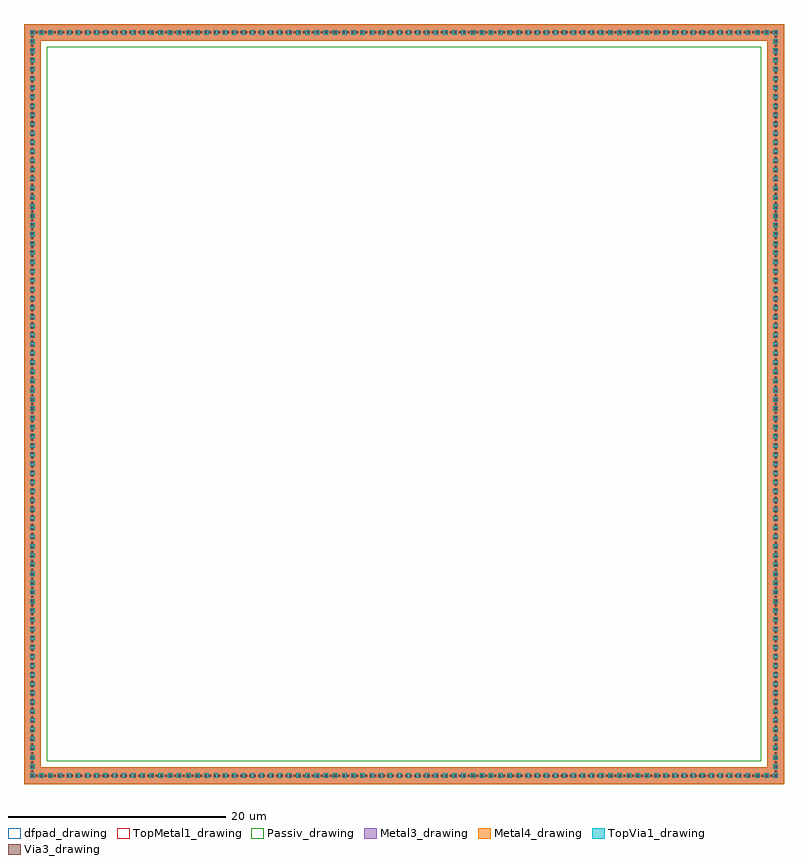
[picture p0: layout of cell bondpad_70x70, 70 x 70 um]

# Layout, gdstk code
import gdstk
lib = gdstk.Library(unit=1e-6, precision=1e-09)
def R(c, l, rs):  # rectangles x0, y0, x1, y1
    for r in rs: c.add(gdstk.rectangle(r[:2], r[2:], *l))
def A(c, l, x, y, w, h, nx, ny, dx, dy):  # array of equal rectangles
    R(c, l, [(x+i*dx, y+j*dy, x+i*dx+w, y+j*dy+h) for i in range(nx) for j in range(ny)])
def P(c, l, *ps):  # polygons
    for p in ps: c.add(gdstk.Polygon(p, *l))
Passiv_drawing = (9, 0)
Metal3_drawing = (30, 0)
dfpad_drawing = (41, 0)
Via3_drawing = (49, 0)
Metal4_drawing = (50, 0)
TopVia1_drawing = (125, 0)
TopMetal1_drawing = (126, 0)

bondpad_70x70 = lib.new_cell('bondpad_70x70')
R(bondpad_70x70, Passiv_drawing, [(2.1,2.1,67.9,67.9)])
P(bondpad_70x70, Metal3_drawing, [(0,0),(1.53,1.53),(68.47,1.53),(68.47,68.47),(1.53,68.47),(1.53,1.53),(0,0),(0,70),(70,70),(70,0)])
R(bondpad_70x70, dfpad_drawing, [(0,0,70,70)])
A(bondpad_70x70, Via3_drawing, 0.67, 0.67, 0.19, 0.19, 168, 2, 0.41, 68.47)
A(bondpad_70x70, Via3_drawing, 0.67, 1.09, 0.19, 0.19, 1, 3, 0, 0.41)
A(bondpad_70x70, Via3_drawing, 69.14, 1.09, 0.19, 0.19, 1, 3, 0, 0.41)
A(bondpad_70x70, Via3_drawing, 0.67, 8.925, 0.19, 0.19, 1, 3, 0, 0.41)
A(bondpad_70x70, Via3_drawing, 69.14, 8.925, 0.19, 0.19, 1, 3, 0, 0.41)
A(bondpad_70x70, Via3_drawing, 0.67, 17.585, 0.19, 0.19, 1, 3, 0, 0.41)
A(bondpad_70x70, Via3_drawing, 69.14, 17.585, 0.19, 0.19, 1, 3, 0, 0.41)
A(bondpad_70x70, Via3_drawing, 0.67, 26.245, 0.19, 0.19, 1, 3, 0, 0.41)
A(bondpad_70x70, Via3_drawing, 69.14, 26.245, 0.19, 0.19, 1, 3, 0, 0.41)
A(bondpad_70x70, Via3_drawing, 0.67, 34.905, 0.19, 0.19, 1, 3, 0, 0.41)
A(bondpad_70x70, Via3_drawing, 69.14, 34.905, 0.19, 0.19, 1, 3, 0, 0.41)
A(bondpad_70x70, Via3_drawing, 0.67, 42.74, 0.19, 0.19, 1, 3, 0, 0.41)
A(bondpad_70x70, Via3_drawing, 69.14, 42.74, 0.19, 0.19, 1, 3, 0, 0.41)
A(bondpad_70x70, Via3_drawing, 0.67, 51.4, 0.19, 0.19, 1, 3, 0, 0.41)
A(bondpad_70x70, Via3_drawing, 69.14, 51.4, 0.19, 0.19, 1, 3, 0, 0.41)
A(bondpad_70x70, Via3_drawing, 0.67, 60.06, 0.19, 0.19, 1, 3, 0, 0.41)
A(bondpad_70x70, Via3_drawing, 69.14, 60.06, 0.19, 0.19, 1, 3, 0, 0.41)
R(bondpad_70x70, Via3_drawing, [(0.67,2.325,0.86,2.515), (69.14,2.325,69.33,2.515), (0.67,2.735,0.86,2.925), (69.14,2.735,69.33,2.925), (0.67,3.15,0.86,3.34), (69.14,3.15,69.33,3.34), (0.67,3.56,0.86,3.75), (69.14,3.56,69.33,3.75), (0.67,3.975,0.86,4.165), (69.14,3.975,69.33,4.165), (0.67,4.385,0.86,4.575), (69.14,4.385,69.33,4.575), (0.67,4.8,0.86,4.99), (69.14,4.8,69.33,4.99), (0.67,5.21,0.86,5.4), (69.14,5.21,69.33,5.4), (0.67,5.625,0.86,5.815), (69.14,5.625,69.33,5.815), (0.67,6.035,0.86,6.225), (69.14,6.035,69.33,6.225), (0.67,6.45,0.86,6.64), (69.14,6.45,69.33,6.64), (0.67,6.86,0.86,7.05), (69.14,6.86,69.33,7.05), (0.67,7.275,0.86,7.465), (69.14,7.275,69.33,7.465), (0.67,7.685,0.86,7.875), (69.14,7.685,69.33,7.875), (0.67,8.1,0.86,8.29), (69.14,8.1,69.33,8.29), (0.67,8.51,0.86,8.7), (69.14,8.51,69.33,8.7), (0.67,10.16,0.86,10.35), (69.14,10.16,69.33,10.35), (0.67,10.57,0.86,10.76), (69.14,10.57,69.33,10.76), (0.67,10.985,0.86,11.175), (69.14,10.985,69.33,11.175), (0.67,11.395,0.86,11.585), (69.14,11.395,69.33,11.585), (0.67,11.81,0.86,12), (69.14,11.81,69.33,12), (0.67,12.22,0.86,12.41), (69.14,12.22,69.33,12.41), (0.67,12.635,0.86,12.825), (69.14,12.635,69.33,12.825), (0.67,13.045,0.86,13.235), (69.14,13.045,69.33,13.235), (0.67,13.46,0.86,13.65), (69.14,13.46,69.33,13.65), (0.67,13.87,0.86,14.06), (69.14,13.87,69.33,14.06), (0.67,14.285,0.86,14.475), (69.14,14.285,69.33,14.475), (0.67,14.695,0.86,14.885), (69.14,14.695,69.33,14.885), (0.67,15.11,0.86,15.3), (69.14,15.11,69.33,15.3), (0.67,15.52,0.86,15.71), (69.14,15.52,69.33,15.71), (0.67,15.935,0.86,16.125), (69.14,15.935,69.33,16.125), (0.67,16.345,0.86,16.535), (69.14,16.345,69.33,16.535), (0.67,16.76,0.86,16.95), (69.14,16.76,69.33,16.95), (0.67,17.17,0.86,17.36), (69.14,17.17,69.33,17.36), (0.67,18.82,0.86,19.01), (69.14,18.82,69.33,19.01), (0.67,19.23,0.86,19.42), (69.14,19.23,69.33,19.42), (0.67,19.645,0.86,19.835), (69.14,19.645,69.33,19.835), (0.67,20.055,0.86,20.245), (69.14,20.055,69.33,20.245), (0.67,20.47,0.86,20.66), (69.14,20.47,69.33,20.66), (0.67,20.88,0.86,21.07), (69.14,20.88,69.33,21.07), (0.67,21.295,0.86,21.485), (69.14,21.295,69.33,21.485), (0.67,21.705,0.86,21.895), (69.14,21.705,69.33,21.895), (0.67,22.12,0.86,22.31), (69.14,22.12,69.33,22.31), (0.67,22.53,0.86,22.72), (69.14,22.53,69.33,22.72), (0.67,22.945,0.86,23.135), (69.14,22.945,69.33,23.135), (0.67,23.355,0.86,23.545), (69.14,23.355,69.33,23.545), (0.67,23.77,0.86,23.96), (69.14,23.77,69.33,23.96), (0.67,24.18,0.86,24.37), (69.14,24.18,69.33,24.37), (0.67,24.595,0.86,24.785), (69.14,24.595,69.33,24.785), (0.67,25.005,0.86,25.195), (69.14,25.005,69.33,25.195), (0.67,25.42,0.86,25.61), (69.14,25.42,69.33,25.61), (0.67,25.83,0.86,26.02), (69.14,25.83,69.33,26.02), (0.67,27.48,0.86,27.67), (69.14,27.48,69.33,27.67), (0.67,27.89,0.86,28.08), (69.14,27.89,69.33,28.08), (0.67,28.305,0.86,28.495), (69.14,28.305,69.33,28.495), (0.67,28.715,0.86,28.905), (69.14,28.715,69.33,28.905), (0.67,29.13,0.86,29.32), (69.14,29.13,69.33,29.32), (0.67,29.54,0.86,29.73), (69.14,29.54,69.33,29.73), (0.67,29.955,0.86,30.145), (69.14,29.955,69.33,30.145), (0.67,30.365,0.86,30.555), (69.14,30.365,69.33,30.555), (0.67,30.78,0.86,30.97), (69.14,30.78,69.33,30.97), (0.67,31.19,0.86,31.38), (69.14,31.19,69.33,31.38), (0.67,31.605,0.86,31.795), (69.14,31.605,69.33,31.795), (0.67,32.015,0.86,32.205), (69.14,32.015,69.33,32.205), (0.67,32.43,0.86,32.62), (69.14,32.43,69.33,32.62), (0.67,32.84,0.86,33.03), (69.14,32.84,69.33,33.03), (0.67,33.255,0.86,33.445), (69.14,33.255,69.33,33.445), (0.67,33.665,0.86,33.855), (69.14,33.665,69.33,33.855), (0.67,34.08,0.86,34.27), (69.14,34.08,69.33,34.27), (0.67,34.49,0.86,34.68), (69.14,34.49,69.33,34.68), (0.67,36.14,0.86,36.33), (69.14,36.14,69.33,36.33), (0.67,36.55,0.86,36.74), (69.14,36.55,69.33,36.74), (0.67,36.965,0.86,37.155), (69.14,36.965,69.33,37.155), (0.67,37.375,0.86,37.565), (69.14,37.375,69.33,37.565), (0.67,37.79,0.86,37.98), (69.14,37.79,69.33,37.98), (0.67,38.2,0.86,38.39), (69.14,38.2,69.33,38.39), (0.67,38.615,0.86,38.805), (69.14,38.615,69.33,38.805), (0.67,39.025,0.86,39.215), (69.14,39.025,69.33,39.215), (0.67,39.44,0.86,39.63), (69.14,39.44,69.33,39.63), (0.67,39.85,0.86,40.04), (69.14,39.85,69.33,40.04), (0.67,40.265,0.86,40.455), (69.14,40.265,69.33,40.455), (0.67,40.675,0.86,40.865), (69.14,40.675,69.33,40.865), (0.67,41.09,0.86,41.28), (69.14,41.09,69.33,41.28), (0.67,41.5,0.86,41.69), (69.14,41.5,69.33,41.69), (0.67,41.915,0.86,42.105), (69.14,41.915,69.33,42.105), (0.67,42.325,0.86,42.515), (69.14,42.325,69.33,42.515), (0.67,43.975,0.86,44.165), (69.14,43.975,69.33,44.165), (0.67,44.385,0.86,44.575), (69.14,44.385,69.33,44.575), (0.67,44.8,0.86,44.99), (69.14,44.8,69.33,44.99), (0.67,45.21,0.86,45.4), (69.14,45.21,69.33,45.4), (0.67,45.625,0.86,45.815), (69.14,45.625,69.33,45.815), (0.67,46.035,0.86,46.225), (69.14,46.035,69.33,46.225), (0.67,46.45,0.86,46.64), (69.14,46.45,69.33,46.64), (0.67,46.86,0.86,47.05), (69.14,46.86,69.33,47.05), (0.67,47.275,0.86,47.465), (69.14,47.275,69.33,47.465), (0.67,47.685,0.86,47.875), (69.14,47.685,69.33,47.875), (0.67,48.1,0.86,48.29), (69.14,48.1,69.33,48.29), (0.67,48.51,0.86,48.7), (69.14,48.51,69.33,48.7), (0.67,48.925,0.86,49.115), (69.14,48.925,69.33,49.115), (0.67,49.335,0.86,49.525), (69.14,49.335,69.33,49.525), (0.67,49.75,0.86,49.94), (69.14,49.75,69.33,49.94), (0.67,50.16,0.86,50.35), (69.14,50.16,69.33,50.35), (0.67,50.575,0.86,50.765), (69.14,50.575,69.33,50.765), (0.67,50.985,0.86,51.175), (69.14,50.985,69.33,51.175), (0.67,52.635,0.86,52.825), (69.14,52.635,69.33,52.825), (0.67,53.045,0.86,53.235), (69.14,53.045,69.33,53.235), (0.67,53.46,0.86,53.65), (69.14,53.46,69.33,53.65), (0.67,53.87,0.86,54.06), (69.14,53.87,69.33,54.06), (0.67,54.285,0.86,54.475), (69.14,54.285,69.33,54.475), (0.67,54.695,0.86,54.885), (69.14,54.695,69.33,54.885), (0.67,55.11,0.86,55.3), (69.14,55.11,69.33,55.3), (0.67,55.52,0.86,55.71), (69.14,55.52,69.33,55.71), (0.67,55.935,0.86,56.125), (69.14,55.935,69.33,56.125), (0.67,56.345,0.86,56.535), (69.14,56.345,69.33,56.535), (0.67,56.76,0.86,56.95), (69.14,56.76,69.33,56.95), (0.67,57.17,0.86,57.36), (69.14,57.17,69.33,57.36), (0.67,57.585,0.86,57.775), (69.14,57.585,69.33,57.775), (0.67,57.995,0.86,58.185), (69.14,57.995,69.33,58.185), (0.67,58.41,0.86,58.6), (69.14,58.41,69.33,58.6), (0.67,58.82,0.86,59.01), (69.14,58.82,69.33,59.01), (0.67,59.235,0.86,59.425), (69.14,59.235,69.33,59.425), (0.67,59.645,0.86,59.835), (69.14,59.645,69.33,59.835), (0.67,61.295,0.86,61.485), (69.14,61.295,69.33,61.485), (0.67,61.705,0.86,61.895), (69.14,61.705,69.33,61.895), (0.67,62.12,0.86,62.31), (69.14,62.12,69.33,62.31), (0.67,62.53,0.86,62.72), (69.14,62.53,69.33,62.72), (0.67,62.945,0.86,63.135), (69.14,62.945,69.33,63.135), (0.67,63.355,0.86,63.545), (69.14,63.355,69.33,63.545), (0.67,63.77,0.86,63.96), (69.14,63.77,69.33,63.96), (0.67,64.18,0.86,64.37), (69.14,64.18,69.33,64.37), (0.67,64.595,0.86,64.785), (69.14,64.595,69.33,64.785), (0.67,65.005,0.86,65.195), (69.14,65.005,69.33,65.195), (0.67,65.42,0.86,65.61), (69.14,65.42,69.33,65.61), (0.67,65.83,0.86,66.02), (69.14,65.83,69.33,66.02), (0.67,66.245,0.86,66.435), (69.14,66.245,69.33,66.435), (0.67,66.655,0.86,66.845), (69.14,66.655,69.33,66.845), (0.67,67.07,0.86,67.26), (69.14,67.07,69.33,67.26), (0.67,67.48,0.86,67.67), (69.14,67.48,69.33,67.67), (0.67,67.895,0.86,68.085), (69.14,67.895,69.33,68.085), (0.67,68.305,0.86,68.495), (69.14,68.305,69.33,68.495), (0.67,68.72,0.86,68.91), (69.14,68.72,69.33,68.91)])
P(bondpad_70x70, Metal4_drawing, [(0,0),(1.53,1.53),(68.47,1.53),(68.47,68.47),(1.53,68.47),(1.53,1.53),(0,0),(0,70),(70,70),(70,0)])
A(bondpad_70x70, TopVia1_drawing, 0.555, 0.555, 0.42, 0.42, 17, 2, 0.845, 68.47)
A(bondpad_70x70, TopVia1_drawing, 14.925, 0.555, 0.42, 0.42, 16, 2, 0.845, 68.47)
A(bondpad_70x70, TopVia1_drawing, 28.45, 0.555, 0.42, 0.42, 16, 2, 0.845, 68.47)
A(bondpad_70x70, TopVia1_drawing, 41.975, 0.555, 0.42, 0.42, 16, 2, 0.845, 68.47)
A(bondpad_70x70, TopVia1_drawing, 55.5, 0.555, 0.42, 0.42, 16, 2, 0.845, 68.47)
A(bondpad_70x70, TopVia1_drawing, 0.555, 1.405, 0.42, 0.42, 1, 27, 0, 0.845)
A(bondpad_70x70, TopVia1_drawing, 69.025, 1.405, 0.42, 0.42, 1, 27, 0, 0.845)
A(bondpad_70x70, TopVia1_drawing, 0.555, 24.225, 0.42, 0.42, 1, 26, 0, 0.845)
A(bondpad_70x70, TopVia1_drawing, 69.025, 24.225, 0.42, 0.42, 1, 26, 0, 0.845)
A(bondpad_70x70, TopVia1_drawing, 0.555, 46.2, 0.42, 0.42, 1, 26, 0, 0.845)
A(bondpad_70x70, TopVia1_drawing, 69.025, 46.2, 0.42, 0.42, 1, 26, 0, 0.845)
R(bondpad_70x70, TopVia1_drawing, [(69.025,0.555,69.445,0.975), (0.555,68.175,0.975,68.595), (69.025,68.175,69.445,68.595), (69.025,69.025,69.445,69.445)])
R(bondpad_70x70, TopMetal1_drawing, [(0,0,70,70)])

lib.write_gds('bondpad_70x70.gds')
